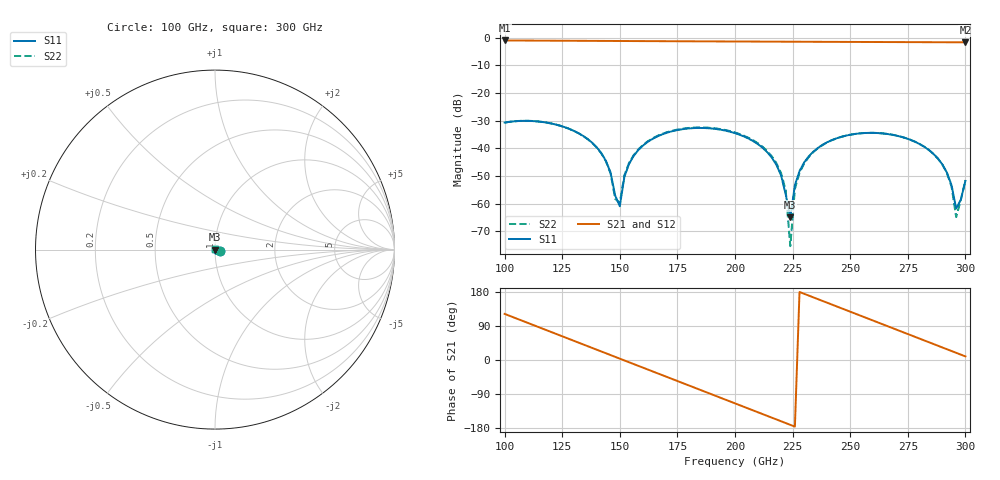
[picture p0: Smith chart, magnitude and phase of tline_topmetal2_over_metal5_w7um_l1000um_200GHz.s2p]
#  GHZ S DB R 50
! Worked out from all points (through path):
!   101 points, 100 GHz to 300 GHz, reference 50 ohm
!   highest |S21| = -1.03 dB at 100 GHz (marker M1); lowest = -1.7 dB at 300 GHz (marker M2)
!   group delay of S21, straight-line fit = 6.56 ps
!   lowest |S11| = -65.0 dB at 224 GHz (marker M3), VSWR 1.00, Z = 50.1 + j0.0111 ohm
!   |S11| at or under -10 dB: start of sweep to end of sweep
!   |S22| runs from -75.4 to -30.1 dB; largest |S21 - S12| = 9.7e-14
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100  -30.73 -17.1  -1.03 121.7  -1.03 121.7  -30.71 -17.3
116  -30.47 -52.5  -1.09 83.9  -1.09 83.9  -30.44 -52.7
134  -35.50 -93.5  -1.16 41.3  -1.16 41.3  -35.51 -93.4
144  -44.60 -117.8  -1.20 17.7  -1.20 17.7  -44.78 -116.2
148  -57.12 -135.1  -1.22 8.3  -1.22 8.3  -58.32 -125.9
150  -60.97 67.8  -1.23 3.5  -1.23 3.5  -59.68 51.0
152  -50.30 51.3  -1.24 -1.2  -1.24 -1.2  -49.77 45.9
156  -42.80 39.4  -1.25 -10.6  -1.25 -10.6  -42.50 36.7
168  -35.12 10.8  -1.30 -38.9  -1.30 -38.9  -34.93 9.1
184  -32.66 -26.0  -1.35 -76.7  -1.35 -76.7  -32.47 -27.5
200  -34.54 -62.4  -1.41 -114.4  -1.41 -114.4  -34.30 -64.2
218  -46.04 -100.3  -1.46 -156.9  -1.46 -156.9  -45.42 -104.6
222  -56.64 -97.5  -1.48 -166.4  -1.48 -166.4  -55.13 -110.3
224  -64.97 11.3  -1.48 -171.1  -1.48 -171.1  -75.40 -11.4
226  -53.30 44.8  -1.49 -175.8  -1.49 -175.8  -54.70 50.2
234  -41.22 34.9  -1.51 165.3  -1.51 165.3  -41.41 35.5
248  -35.47 3.7  -1.56 132.3  -1.56 132.3  -35.48 3.4
268  -35.09 -43.1  -1.62 85.0  -1.62 85.0  -35.06 -43.4
288  -43.64 -93.5  -1.67 37.8  -1.67 37.8  -43.68 -92.4
294  -53.39 -119.2  -1.69 23.7  -1.69 23.7  -53.91 -113.7
296  -61.79 -156.9  -1.70 18.9  -1.70 18.9  -64.90 -147.5
300  -51.82 77.5  -1.71 9.5  -1.71 9.5  -51.58 70.4
